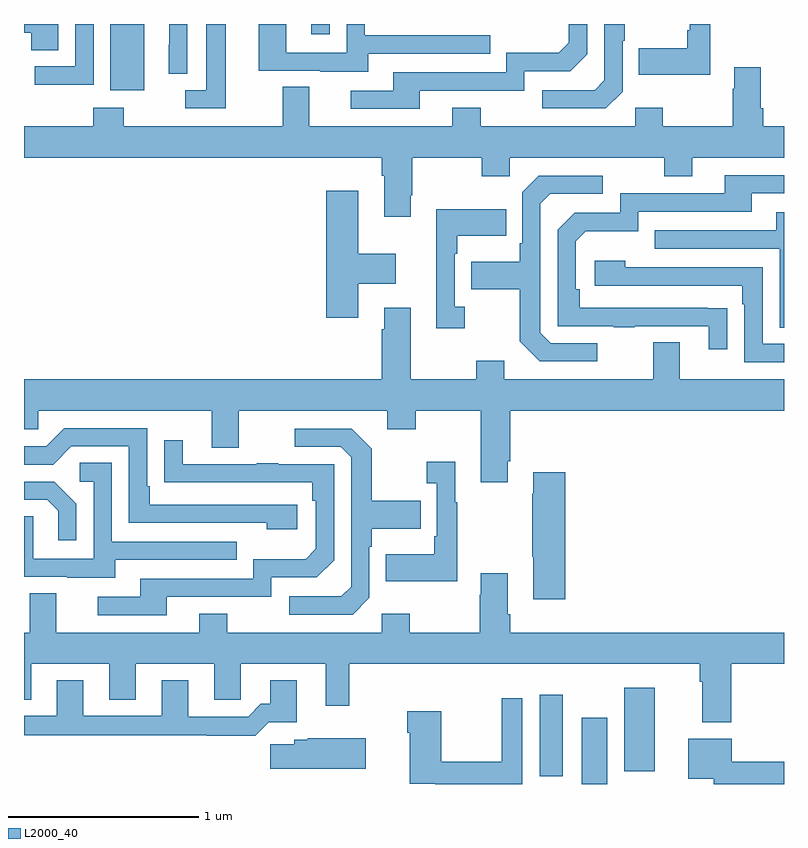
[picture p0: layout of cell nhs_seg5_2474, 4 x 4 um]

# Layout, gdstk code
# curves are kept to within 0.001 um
import gdstk
lib = gdstk.Library(unit=1e-6, precision=1e-09)
def R(c, l, rs):  # rectangles x0, y0, x1, y1
    for r in rs: c.add(gdstk.rectangle(r[:2], r[2:], *l))
def P(c, l, *ps):  # polygons
    for p in ps: c.add(gdstk.Polygon(p, *l))
L2000_40 = (2000, 40)

nhs_seg5_2474 = lib.new_cell('nhs_seg5_2474')
R(nhs_seg5_2474, L2000_40, [(257.936,850.799,258.07,851.149), (257.714,850.839,257.836,851.269), (258.158,850.866,258.319,851.305), (255.455,854.45,255.634,854.799), (256.511,854.745,256.608,854.799)])
P(nhs_seg5_2474, L2000_40, [(255.366,854.799),(255.27,854.799),(255.27,854.577),(255.057,854.577),(255.057,854.479),(255.366,854.479)],
  [(256.813,854.643),(257.453,854.643),(257.453,854.739),(256.794,854.739),(256.794,854.799),(256.698,854.799),(256.698,854.649),(256.38,854.649),(256.38,854.799),(256.235,854.799),(256.235,854.553),(256.559,854.553),(256.559,854.549),(256.813,854.549)],
  [(257.083,854.448),(257.634,854.448),(257.634,854.55),(257.874,854.55),(257.964,854.64),(257.964,854.799),(257.868,854.799),(257.868,854.7),(257.815,854.647),(257.538,854.647),(257.538,854.544),(256.943,854.544),(256.943,854.448),(256.719,854.448),(256.719,854.352),(257.083,854.352)],
  [(255.858,854.799),(255.764,854.799),(255.764,854.69),(255.762,854.69),(255.762,854.536),(255.858,854.536)],
  [(255.181,854.799),(255,854.799),(255,854.753),(255.038,854.753),(255.038,854.662),(255.181,854.662)],
  [(256.063,854.799),(255.959,854.799),(255.959,854.451),(255.849,854.451),(255.849,854.355),(256.063,854.355)],
  [(258.15,854.442),(258.15,854.711),(258.163,854.711),(258.163,854.799),(258.054,854.799),(258.054,854.502),(258.003,854.451),(257.727,854.451),(257.727,854.355),(258.063,854.355)],
  [(258.613,854.799),(258.504,854.799),(258.504,854.767),(258.492,854.767),(258.492,854.671),(258.235,854.671),(258.235,854.531),(258.613,854.531)],
  [(257.035,853.897),(257.043,853.897),(257.043,854.096),(257.41,854.096),(257.41,853.997),(257.556,853.997),(257.556,854.096),(258.37,854.096),(258.37,853.997),(258.517,853.997),(258.517,854.096),(259,854.096),(259,854.26),(258.89,854.26),(258.89,854.356),(258.877,854.356),(258.877,854.572),(258.737,854.572),(258.737,854.459),(258.73,854.459),(258.73,854.26),(258.363,854.26),(258.363,854.359),(258.216,854.359),(258.216,854.26),(257.403,854.26),(257.403,854.359),(257.255,854.359),(257.255,854.26),(256.501,854.26),(256.501,854.468),(256.361,854.468),(256.361,854.26),(255.525,854.26),(255.525,854.359),(255.365,854.359),(255.365,854.26),(255,854.26),(255,854.096),(256.883,854.096),(256.883,854),(256.895,854),(256.895,853.785),(257.035,853.785)],
  [(258.701,853.304),(257.924,853.305),(257.924,853.402),(257.904,853.402),(257.904,853.656),(257.957,853.709),(258.234,853.709),(258.234,853.812),(258.829,853.812),(258.829,853.908),(259,853.908),(259,854.004),(258.689,854.004),(258.689,853.908),(258.138,853.908),(258.138,853.806),(257.898,853.806),(257.808,853.716),(257.808,853.209),(258.103,853.209),(258.103,853.204),(258.215,853.204),(258.215,853.209),(258.605,853.209),(258.605,853.086),(258.701,853.086)],
  [(258.016,853.119),(257.772,853.119),(257.718,853.173),(257.718,853.854),(257.769,853.905),(258.046,853.905),(258.046,854.001),(257.709,854.001),(257.622,853.914),(257.622,853.645),(257.61,853.645),(257.61,853.549),(257.353,853.549),(257.353,853.402),(257.61,853.402),(257.61,853.129),(257.715,853.023),(258.016,853.023)],
  [(256.759,853.433),(256.957,853.433),(256.957,853.591),(256.759,853.591),(256.759,853.921),(256.592,853.921),(256.592,853.254),(256.759,853.254)],
  [(257.32,853.31),(257.268,853.31),(257.268,853.589),(257.281,853.589),(257.281,853.685),(257.537,853.685),(257.537,853.825),(257.171,853.825),(257.171,853.197),(257.32,853.197)],
  [(259,853.807),(258.959,853.807),(258.959,853.713),(258.319,853.713),(258.319,853.617),(258.978,853.617),(258.978,853.201),(259,853.201)],
  [(259,853.116),(258.888,853.116),(258.888,853.518),(258.164,853.518),(258.164,853.552),(258.003,853.552),(258.003,853.422),(258.779,853.422),(258.779,853.325),(258.792,853.325),(258.792,853.02),(259,853.02)],
  [(255,852.666),(255.075,852.666),(255.075,852.764),(255.989,852.764),(255.989,852.57),(256.129,852.57),(256.129,852.764),(256.913,852.764),(256.913,852.665),(257.061,852.665),(257.061,852.764),(257.405,852.764),(257.405,852.387),(257.545,852.387),(257.545,852.499),(257.558,852.499),(257.558,852.764),(259,852.764),(259,852.928),(258.451,852.928),(258.451,853.123),(258.311,853.123),(258.311,852.928),(257.527,852.928),(257.527,853.027),(257.38,853.027),(257.38,852.928),(257.035,852.928),(257.035,853.306),(256.895,853.306),(256.895,853.193),(256.883,853.193),(256.883,852.928),(255,852.928)],
  [(256.438,852.27),(255.661,852.27),(255.661,852.367),(255.648,852.367),(255.648,852.672),(255.213,852.672),(255.117,852.576),(255,852.576),(255,852.48),(255.153,852.48),(255.249,852.576),(255.552,852.576),(255.552,852.174),(256.277,852.174),(256.277,852.14),(256.438,852.14)],
  [(256.818,851.778),(256.818,852.047),(256.831,852.047),(256.831,852.143),(257.087,852.143),(257.087,852.291),(256.831,852.291),(256.831,852.563),(256.725,852.669),(256.425,852.669),(256.425,852.573),(256.668,852.573),(256.722,852.519),(256.722,851.838),(256.671,851.787),(256.395,851.787),(256.395,851.691),(256.731,851.691)],
  [(255.751,851.784),(256.302,851.784),(256.302,851.886),(256.542,851.886),(256.632,851.976),(256.632,852.483),(256.337,852.483),(256.337,852.488),(256.225,852.488),(256.225,852.483),(255.835,852.483),(255.835,852.607),(255.739,852.607),(255.739,852.388),(256.516,852.387),(256.516,852.29),(256.536,852.29),(256.536,852.036),(256.483,851.983),(256.206,851.983),(256.206,851.88),(255.611,851.88),(255.611,851.784),(255.387,851.784),(255.387,851.688),(255.751,851.688)],
  [(257.281,852.283),(257.269,852.283),(257.269,852.496),(257.121,852.496),(257.121,852.383),(257.172,852.383),(257.172,852.103),(257.16,852.103),(257.16,852.007),(256.903,852.007),(256.903,851.867),(257.281,851.867)],
  [(255.481,851.979),(256.121,851.979),(256.121,852.075),(255.462,852.075),(255.462,852.491),(255.294,852.491),(255.294,852.39),(255.366,852.39),(255.366,851.985),(255.048,851.985),(255.048,852.209),(255,852.209),(255,851.889),(255.227,851.889),(255.227,851.885),(255.481,851.885)],
  [(257.849,852.439),(257.681,852.439),(257.681,852.326),(257.674,852.326),(257.674,851.995),(257.681,851.995),(257.681,851.772),(257.849,851.772)],
  [(255.276,852.274),(255.16,852.39),(255,852.39),(255,852.294),(255.122,852.294),(255.179,852.237),(255.179,852.081),(255.276,852.081)],
  [(258.722,851.432),(259,851.432),(259,851.596),(257.558,851.596),(257.558,851.692),(257.545,851.692),(257.545,851.908),(257.405,851.908),(257.405,851.795),(257.398,851.795),(257.398,851.596),(257.031,851.596),(257.031,851.695),(256.884,851.695),(256.884,851.596),(256.071,851.596),(256.071,851.695),(255.923,851.695),(255.923,851.596),(255.169,851.596),(255.169,851.804),(255.029,851.804),(255.029,851.596),(255,851.596),(255,851.242),(255.037,851.242),(255.037,851.432),(255.449,851.432),(255.449,851.242),(255.589,851.242),(255.589,851.432),(256.001,851.432),(256.001,851.242),(256.14,851.242),(256.14,851.432),(256.589,851.432),(256.589,851.211),(256.711,851.211),(256.711,851.432),(258.557,851.432),(258.557,851.336),(258.569,851.336),(258.569,851.123),(258.722,851.123)],
  [(256.287,851.124),(256.435,851.124),(256.435,851.344),(256.295,851.344),(256.295,851.221),(256.246,851.221),(256.179,851.154),(255.865,851.154),(255.865,851.344),(255.725,851.344),(255.725,851.157),(255.313,851.157),(255.313,851.344),(255.173,851.344),(255.173,851.157),(255,851.157),(255,851.056),(255.961,851.056),(255.961,851.054),(256.217,851.054)],
  [(257.622,851.251),(257.514,851.251),(257.514,850.916),(257.196,850.916),(257.196,851.182),(257.017,851.182),(257.017,851.069),(257.03,851.069),(257.03,850.8),(257.164,850.8),(257.164,850.799),(257.622,850.799)],
  [(256.798,851.041),(256.494,851.041),(256.494,851.032),(256.422,851.032),(256.422,851.009),(256.296,851.009),(256.296,850.88),(256.798,850.88)],
  [(259,850.916),(258.724,850.916),(258.724,851.038),(258.497,851.038),(258.497,850.826),(258.63,850.826),(258.63,850.799),(259,850.799)])

lib.write_gds('nhs_seg5_2474.gds')
